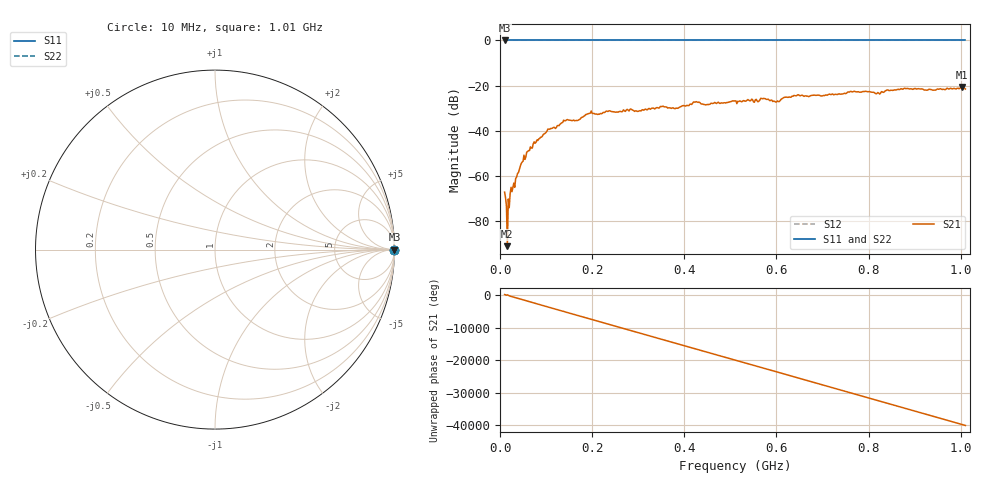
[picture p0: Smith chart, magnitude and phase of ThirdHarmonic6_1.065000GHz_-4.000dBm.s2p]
! 8/16/2025 9:35:02 AM
! C:\ANRITSUVNA\TEMP\TEMP.S2P
! CHANNEL.1
! TR.MEASUREMENT
! RAW.DATA
! RF.CORRECTION.OFF
! AVERAGING.OFF
! IF.BANDWIDTH: 5KHZ
! SWEEPTYPE:  FREQ.SWEEP(Linear)
! Reference Plane Port Info
! PORT:  PORT1  PORT2
! DISTANCE:  0  m  0  m
! TIME:  0  s  0  s
! PHASE.OFFSET:  0  deg.  0  deg.
! LOSS:  0  dB  0  dB
! REF.LOSS:  0  dB  0  dB
! REF.FREQ:  0  Hz  0  Hz
! Power Info
! POWER:  -20  dBm  -20  dBm
! EFF.POWER:  -20  dBm  -20  dBm
! SOURCE.ATTEN:  0  dB  0  dB
! TEST.ATTEN:  0  dB  0  dB
# GHZ S RI R 50.0
! FREQ.GHZ  S11RE  S11IM  S21RE  S21IM  S12RE  S12IM  S22RE  S22IM
!; PortSelection: Port_12
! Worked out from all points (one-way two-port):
!   501 points, 10 MHz to 1.01 GHz, reference 50 ohm
!   highest |S21| = -20.71 dB at 1.002 GHz (marker M1); lowest = -91.3 dB at 16 MHz (marker M2)
!   lowest |S11| = 0.0 dB at 10 MHz (marker M3)
!   |S11| at or under -10 dB: nowhere
!   |S22| runs from 0.0 to 0.0 dB; largest |S21 - S12| = 1.1
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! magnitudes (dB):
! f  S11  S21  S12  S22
! 10 MHz  0.0  -67.4  0.0  0.0
! 16 MHz  0.0  -91.3  0.0  0.0
! 18 MHz  0.0  -70.4  0.0  0.0
! 26 MHz  0.0  -67.1  0.0  0.0
! 48 MHz  0.0  -54.0  0.0  0.0
! 76 MHz  0.0  -45.7  0.0  0.0
! 106 MHz  0.0  -39.4  0.0  0.0
! 142 MHz  0.0  -35.7  0.0  0.0
! 178 MHz  0.0  -34.1  0.0  0.0
! 194 MHz  0.0  -32.4  0.0  0.0
! 344 MHz  0.0  -30.0  0.0  0.0
! 382 MHz  0.0  -30.0  0.0  0.0
! 424 MHz  0.0  -27.4  0.0  0.0
! 448 MHz  0.0  -28.5  0.0  0.0
! 510 MHz  0.0  -26.9  0.0  0.0
! 570 MHz  0.0  -25.9  0.0  0.0
! 602 MHz  0.0  -26.8  0.0  0.0
! 642 MHz  0.0  -24.6  0.0  0.0
! 678 MHz  0.0  -24.4  0.0  0.0
! 844 MHz  0.0  -22.2  0.0  0.0
! 1.002 GHz  0.0  -20.7  0.0  0.0
! 1.01 GHz  0.0  -21.6  0.0  0.0
